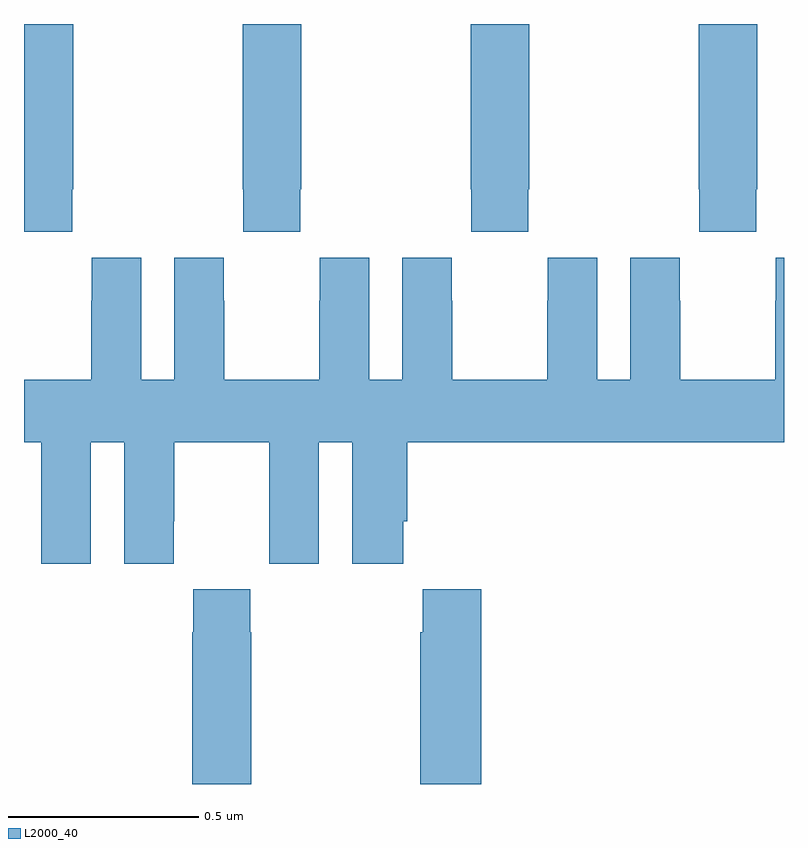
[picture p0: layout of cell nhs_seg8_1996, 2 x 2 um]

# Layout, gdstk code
import gdstk
lib = gdstk.Library(unit=1e-6, precision=1e-09)
def P(c, l, *ps):  # polygons
    for p in ps: c.add(gdstk.Polygon(p, *l))
L2000_40 = (2000, 40)

nhs_seg8_1996 = lib.new_cell('nhs_seg8_1996')
P(nhs_seg8_1996, L2000_40, [(137.127,1150.465),(137.13,1150.465),(137.13,1150.9),(137,1150.9),(137,1150.353),(137.127,1150.353)],
  [(137.727,1150.465),(137.73,1150.465),(137.73,1150.9),(137.575,1150.9),(137.575,1150.465),(137.577,1150.465),(137.577,1150.353),(137.727,1150.353)],
  [(138.327,1150.465),(138.33,1150.465),(138.33,1150.9),(138.175,1150.9),(138.175,1150.465),(138.177,1150.465),(138.177,1150.353),(138.327,1150.353)],
  [(138.927,1150.465),(138.93,1150.465),(138.93,1150.9),(138.775,1150.9),(138.775,1150.465),(138.777,1150.465),(138.777,1150.353),(138.927,1150.353)],
  [(137.176,1149.8),(137.264,1149.8),(137.264,1149.48),(137.394,1149.48),(137.394,1149.592),(137.395,1149.592),(137.395,1149.8),(137.645,1149.8),(137.645,1149.592),(137.646,1149.592),(137.646,1149.48),(137.776,1149.48),(137.776,1149.8),(137.864,1149.8),(137.864,1149.48),(137.998,1149.48),(137.998,1149.592),(138.008,1149.592),(138.008,1149.8),(139,1149.8),(139,1150.285),(138.978,1150.285),(138.978,1150.172),(138.977,1150.172),(138.977,1149.964),(138.727,1149.964),(138.727,1150.172),(138.726,1150.172),(138.726,1150.285),(138.596,1150.285),(138.596,1149.964),(138.508,1149.964),(138.508,1150.285),(138.378,1150.285),(138.378,1150.172),(138.377,1150.172),(138.377,1149.964),(138.127,1149.964),(138.127,1150.172),(138.126,1150.172),(138.126,1150.285),(137.996,1150.285),(137.996,1149.964),(137.908,1149.964),(137.908,1150.285),(137.778,1150.285),(137.778,1150.172),(137.777,1150.172),(137.777,1149.964),(137.527,1149.964),(137.527,1150.172),(137.526,1150.172),(137.526,1150.285),(137.396,1150.285),(137.396,1149.964),(137.308,1149.964),(137.308,1150.285),(137.178,1150.285),(137.178,1150.172),(137.177,1150.172),(137.177,1149.964),(137,1149.964),(137,1149.8),(137.045,1149.8),(137.045,1149.592),(137.046,1149.592),(137.046,1149.48),(137.176,1149.48)],
  [(137.598,1149.299),(137.595,1149.299),(137.595,1149.412),(137.445,1149.412),(137.445,1149.299),(137.443,1149.299),(137.443,1148.9),(137.598,1148.9)],
  [(138.203,1149.412),(138.049,1149.412),(138.049,1149.299),(138.043,1149.299),(138.043,1148.9),(138.203,1148.9)])

lib.write_gds('nhs_seg8_1996.gds')
